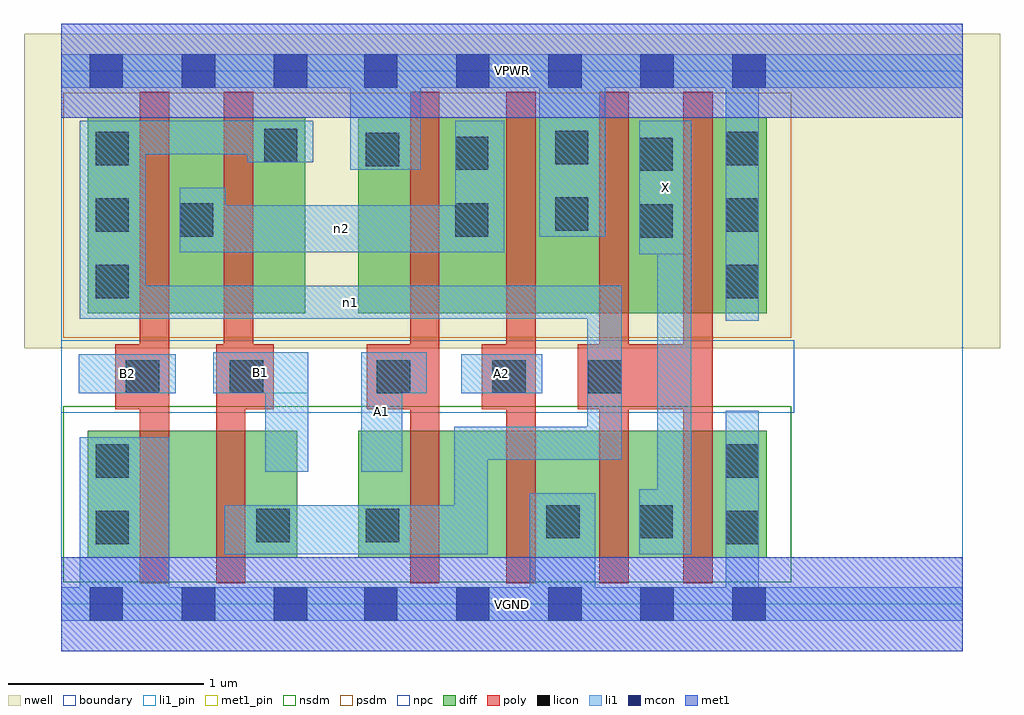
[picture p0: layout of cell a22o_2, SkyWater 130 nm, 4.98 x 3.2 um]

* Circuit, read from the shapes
.subckt a22o_2 A1 A2 B1 B2 VGND VPWR X n1 n2
XM1 n3 B2 VGND VSUBS sky130_fd_pr__nfet_01v8 w=0.65 l=0.15
XM2 n1 B1 n3 VSUBS sky130_fd_pr__nfet_01v8 w=0.65 l=0.15
XM3 n4 A1 n1 VSUBS sky130_fd_pr__nfet_01v8 w=0.65 l=0.15
XM4 VGND A2 n4 VSUBS sky130_fd_pr__nfet_01v8 w=0.65 l=0.15
XM5 X n1 VGND VSUBS sky130_fd_pr__nfet_01v8 w=0.65 l=0.15 m=2
XM6 n2 B2 n1 n5 sky130_fd_pr__pfet_01v8 w=1 l=0.15
XM7 n1 B1 n2 n5 sky130_fd_pr__pfet_01v8 w=1 l=0.15
XM8 n2 A1 VPWR n5 sky130_fd_pr__pfet_01v8 w=1 l=0.15
XM9 VPWR A2 n2 n5 sky130_fd_pr__pfet_01v8 w=1 l=0.15
XM10 X n1 VPWR n5 sky130_fd_pr__pfet_01v8 w=1 l=0.15 m=2
.ends

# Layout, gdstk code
import gdstk
lib = gdstk.Library(unit=1e-6, precision=1e-09)
def R(c, l, rs):  # rectangles x0, y0, x1, y1
    for r in rs: c.add(gdstk.rectangle(r[:2], r[2:], *l))
def A(c, l, x, y, w, h, nx, ny, dx, dy):  # array of equal rectangles
    R(c, l, [(x+i*dx, y+j*dy, x+i*dx+w, y+j*dy+h) for i in range(nx) for j in range(ny)])
nwell = (64, 20)
diff = (65, 20)
poly = (66, 20)
licon = (66, 44)
li1_pin = (67, 16)
li1 = (67, 20)
mcon = (67, 44)
met1_pin = (68, 16)
met1 = (68, 20)
nsdm = (93, 44)
psdm = (94, 20)
npc = (95, 20)
boundary = (235, 4)

a22o_2 = lib.new_cell('a22o_2')
R(a22o_2, nwell, [(-0.19,1.305,4.79,2.91), (0,1.305,4.6,2.91)])
R(a22o_2, diff, [(0.135,0.235,1.205,0.885), (1.515,0.235,3.6,0.885), (0.135,1.485,1.245,2.485), (1.515,1.485,3.6,2.485)])
R(a22o_2, poly, [(0.4,0.105,0.55,2.615), (0.79,0.105,0.94,1.325), (1.78,0.105,1.93,2.615), (2.27,0.105,2.42,2.615), (2.745,0.105,2.895,2.615), (3.175,0.105,3.325,2.615), (0.275,0.995,0.55,1.325), (0.79,0.995,1.085,1.325), (0.83,0.995,0.98,2.615), (1.56,0.995,1.93,1.325), (2.145,0.995,2.42,1.325), (2.635,0.995,3.325,1.325)])
A(a22o_2, licon, 0.175, 1.56, 0.17, 0.17, 1, 3, 0, 0.34)
A(a22o_2, licon, 3.39, 1.56, 0.17, 0.17, 1, 3, 0, 0.34)
R(a22o_2, licon, [(0.175,0.305,0.345,0.475), (3.39,0.305,3.56,0.475), (0.995,0.315,1.165,0.485), (1.555,0.315,1.725,0.485), (2.475,0.335,2.645,0.505), (2.95,0.335,3.12,0.505), (0.175,0.645,0.345,0.815), (3.39,0.645,3.56,0.815), (0.33,1.075,0.5,1.245), (0.86,1.075,1.03,1.245), (1.61,1.075,1.78,1.245), (2.2,1.075,2.37,1.245), (2.69,1.075,2.86,1.245), (2.95,1.87,3.12,2.04), (0.605,1.875,0.775,2.045), (2.01,1.875,2.18,2.045), (2.52,1.905,2.69,2.075), (2.95,2.21,3.12,2.38), (2.01,2.215,2.18,2.385), (1.555,2.235,1.725,2.405), (2.52,2.245,2.69,2.415), (1.035,2.255,1.205,2.425)])
R(a22o_2, li1_pin, [(1.53,0.675,1.74,1.285), (0.09,1.075,0.585,1.275), (0.775,1.075,1.26,1.285), (2.04,1.075,2.455,1.275), (2.95,1.785,3.215,2.465)])
R(a22o_2, li1, [(0,-0.085,4.6,0.085), (0.095,-0.085,0.55,0.85), (2.39,-0.085,2.725,0.565), (3.39,-0.085,3.56,0.985), (0.835,0.255,2.175,0.505), (2.005,0.255,2.175,0.905), (2.95,0.255,3.215,0.585), (3.04,0.255,3.215,2.465), (1.04,0.675,1.26,1.285), (1.53,0.675,1.74,1.285), (2.005,0.735,2.86,0.905), (2.685,0.735,2.86,1.625), (0.09,1.075,0.585,1.275), (0.775,1.075,1.26,1.285), (1.53,1.075,1.865,1.285), (2.04,1.075,2.455,1.275), (3.39,1.445,3.56,2.805), (0.095,1.455,2.86,1.625), (0.095,1.455,0.43,2.465), (2.95,1.785,3.215,2.465), (0.605,1.795,2.26,2.035), (0.605,1.795,0.84,2.125), (2.01,1.795,2.26,2.465), (2.44,1.875,2.775,2.805), (1.475,2.215,1.835,2.805), (0.95,2.255,1.285,2.465), (0.095,2.295,1.285,2.465), (0,2.635,4.6,2.805)])
A(a22o_2, mcon, 0.145, -0.085, 0.17, 0.17, 3, 2, 0.47, 2.72)
A(a22o_2, mcon, 1.545, -0.085, 0.17, 0.17, 5, 2, 0.47, 2.72)
R(a22o_2, met1_pin, [(0,-0.24,4.6,0.24), (0,2.48,4.6,2.96)])
R(a22o_2, met1, [(0,-0.24,4.6,0.24), (0,2.48,4.6,2.96)])
R(a22o_2, nsdm, [(0.01,0.11,3.725,1.01)])
R(a22o_2, psdm, [(0.01,1.36,3.725,2.61)])
R(a22o_2, npc, [(0,0.975,3.74,1.345)])
R(a22o_2, boundary, [(0,0,4.6,2.72)])
a22o_2.add(gdstk.Label('A1', (1.635,0.98), layer=67, texttype=5))
a22o_2.add(gdstk.Label('A2', (2.247,1.175), layer=67, texttype=5))
a22o_2.add(gdstk.Label('B1', (1.017,1.18), layer=67, texttype=5))
a22o_2.add(gdstk.Label('B2', (0.337,1.175), layer=67, texttype=5))
a22o_2.add(gdstk.Label('X', (3.082,2.125), layer=67, texttype=5))
a22o_2.add(gdstk.Label('n1', (1.477,1.54), layer=67, texttype=5))
a22o_2.add(gdstk.Label('n2', (1.432,1.915), layer=67, texttype=5))
a22o_2.add(gdstk.Label('VPWR', (2.3,2.72), layer=68, texttype=5))
a22o_2.add(gdstk.Label('VGND', (2.3,0), layer=68, texttype=5))
a22o_2.add(gdstk.Label('A1', (1.635,0.98), layer=67, texttype=16))
a22o_2.add(gdstk.Label('A2', (2.247,1.175), layer=67, texttype=16))
a22o_2.add(gdstk.Label('B1', (1.017,1.18), layer=67, texttype=16))
a22o_2.add(gdstk.Label('B2', (0.337,1.175), layer=67, texttype=16))
a22o_2.add(gdstk.Label('X', (3.082,2.125), layer=67, texttype=16))
a22o_2.add(gdstk.Label('VPWR', (2.3,2.72), layer=68, texttype=16))
a22o_2.add(gdstk.Label('VGND', (2.3,0), layer=68, texttype=16))

lib.write_gds('a22o_2.gds')
